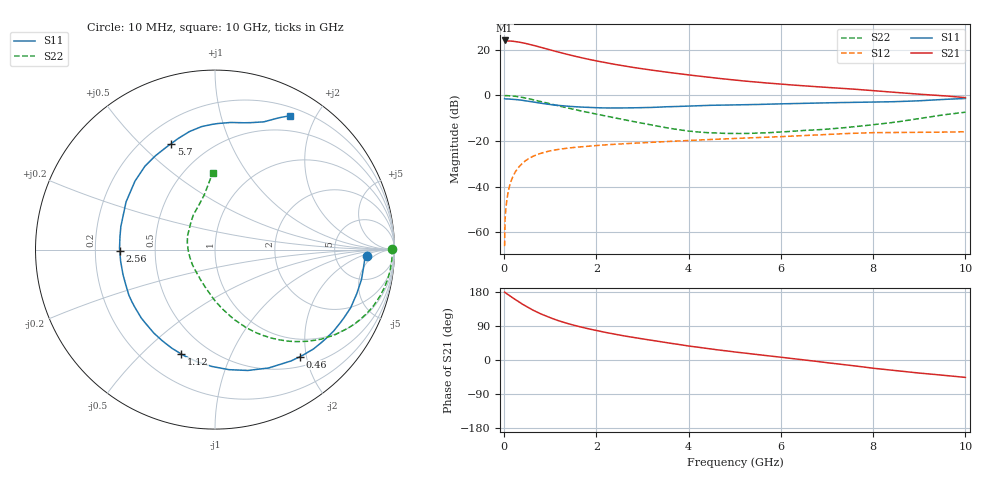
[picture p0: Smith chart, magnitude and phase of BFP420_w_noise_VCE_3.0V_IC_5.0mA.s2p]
! Infineon Technologies  Discrete & RF Semiconductors
! BFP420
! VCE =  3.0 V,  IC =  5.0 mA
! Common Emitter S-Parameters:  Jan 2016
# GHz  S  MA  R  50
!  f  S11  S21  S12  S22
! GHz  MAG  ANG  MAG  ANG  MAG  ANG  MAG  ANG
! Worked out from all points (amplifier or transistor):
!   233 points, 10 MHz to 10 GHz, reference 50 ohm
!   highest |S21| = 24.0 dB at 10 MHz (marker M1)
!   |S21| within 3 dB of that: start of sweep to 793.2 MHz
!   unconditionally stable (mu >= 1): start of sweep to 10.09 MHz; 3.012 GHz to end of sweep
!   at 200 MHz: K = 0.08, MSG = 29.4 dB, |S12| = -35.1 dB
!   at 1.74 GHz: K = 0.60, MSG = 19.3 dB, |S12| = -22.4 dB
!   at 10 GHz: K = 1.13, MAG = 5.3 dB, |S12| = -15.9 dB
!   lowest NFmin = 0.66 dB at 900 MHz
!   S11 on the Smith chart (normalised r, x): 10 MHz: 11, -3; 460 MHz: 0.66, -1.89; 1.12 GHz: 0.36, -0.66; 2.56 GHz: 0.31, -0.01; 5.7 GHz: 0.31, +0.62; 10 GHz: 0.30, +1.66
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0.01  0.8454 -2.4  15.92 179.1  0.0005 50.0  0.986 0.3
0.02  0.8378 -2.3  15.55 178.3  0.0019 81.9  0.9876 -1.3
0.07  0.8329 -8.1  15.55 173.8  0.0062 82.7  0.9852 -4.6
0.15  0.8271 -17.4  15.44 167.1  0.0132 80.3  0.9759 -9.9
0.26  0.809 -29.9  14.94 157.9  0.0225 74.3  0.9496 -16.9
0.38  0.783 -43.1  14.28 148.6  0.0315 67.9  0.9084 -24.1
0.46  0.7616 -51.5  13.74 142.8  0.0369 64.0  0.8771 -28.5
0.6  0.7241 -65.6  12.72 133.1  0.0451 57.8  0.8171 -35.7
0.7  0.6978 -74.8  11.97 127.0  0.05 54.0  0.7733 -40.2
0.9  0.6509 -91.7  10.54 116.1  0.0578 47.6  0.6903 -48.0
1.12  0.6112 -108.0  9.174 106.2  0.0643 42.3  0.6095 -55.2
1.4  0.5768 -126.1  7.758 95.4  0.0704 37.1  0.523 -63.1
1.68  0.5538 -141.3  6.664 86.6  0.0753 33.3  0.4532 -69.5
2.02  0.5359 -157.2  5.631 77.3  0.0802 29.8  0.3852 -76.5
2.56  0.5308 -179.3  4.478 64.6  0.0869 25.5  0.2987 -87.8
3.4  0.5551 154.6  3.346 48.1  0.0961 20.5  0.2054 -107.9
4  0.5867 139.5  2.804 36.9  0.1031 17.4  0.1657 -127.8
5.1  0.6209 121.0  2.112 19.9  0.115 11.5  0.1463 -165.7
5.7  0.6392 112.4  1.864 11.5  0.1214 8.5  0.1518 175.4
6.8  0.682 98.6  1.542 -4.0  0.1363 2.2  0.1767 147.2
8.4  0.7249 77.1  1.18 -27.0  0.1537 -11.7  0.2532 112.7
10  0.854 60.8  0.893 -45.9  0.1596 -21.5  0.4286 91.7
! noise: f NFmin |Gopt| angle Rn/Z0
0.9  0.66  0.21  31  0.15
1.8  1.05  0.09  93  0.13
2.4  1.14  0.14  119  0.13
3  1.24  0.17  165  0.11
4  1.41  0.31  -145  0.12
5  1.85  0.38  -119  0.21
6  2.3  0.45  -101  0.36
